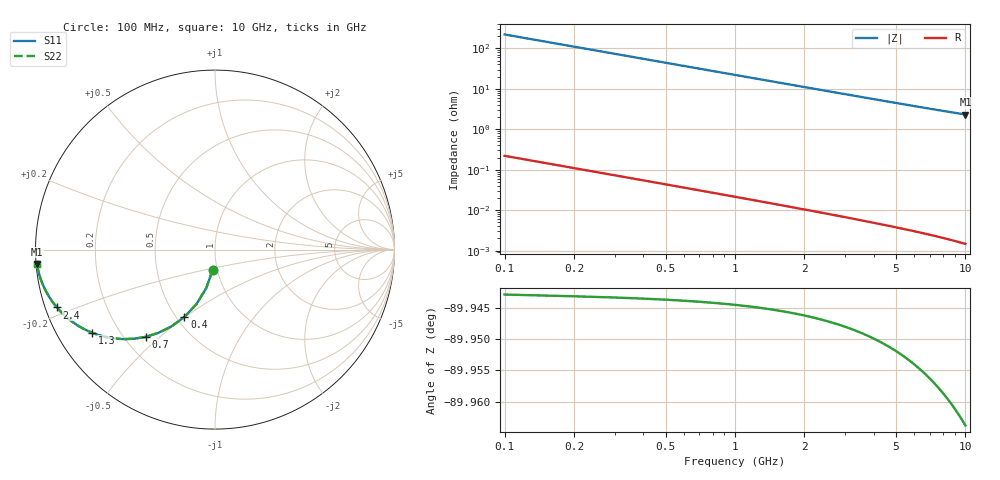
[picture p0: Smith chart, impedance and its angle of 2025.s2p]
# Hz S RI R 50.00
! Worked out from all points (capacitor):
!   100 points, 100 MHz to 10 GHz, reference 50 ohm
!   read as one part in shunt: C = 7.21 pF near 100 MHz
!   lowest |Z| = 2.32 ohm at 10 GHz (marker M1)
!   S11 on the Smith chart (normalised r, x): 100 MHz: 0.95, -0.22; 400 MHz: 0.55, -0.50; 700 MHz: 0.29, -0.45; 1.3 GHz: 0.10, -0.30; 2.4 GHz: 0.03, -0.18; 10 GHz: 0.00, -0.04
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1e8  -0.0127 -0.1117  0.9872 -0.1118  0.9872 -0.1118  -0.0127 -0.1117
2e8  -0.0489 -0.2152  0.951 -0.2154  0.951 -0.2154  -0.0489 -0.2152
3e8  -0.1036 -0.3042  0.8963 -0.3045  0.8963 -0.3045  -0.1036 -0.3042
4e8  -0.1704 -0.3753  0.8295 -0.3757  0.8295 -0.3757  -0.1704 -0.3753
5e8  -0.2429 -0.4281  0.7571 -0.4286  0.7571 -0.4286  -0.2429 -0.4281
6e8  -0.3159 -0.464  0.6841 -0.4647  0.6841 -0.4647  -0.3159 -0.464
7e8  -0.3858 -0.4859  0.6141 -0.4867  0.6141 -0.4867  -0.3858 -0.4859
8e8  -0.4507 -0.4966  0.5493 -0.4975  0.5493 -0.4975  -0.4507 -0.4966
1e9  -0.5616 -0.4951  0.4383 -0.4962  0.4383 -0.4962  -0.5616 -0.4951
1.1e9  -0.6078 -0.4871  0.3921 -0.4883  0.3921 -0.4883  -0.6078 -0.4871
1.3e9  -0.684 -0.4637  0.316 -0.4651  0.316 -0.4651  -0.684 -0.4637
1.5e9  -0.7423 -0.436  0.2576 -0.4377  0.2576 -0.4377  -0.7423 -0.436
1.8e9  -0.8057 -0.3941  0.1943 -0.3961  0.1943 -0.3961  -0.8057 -0.3941
2.1e9  -0.8494 -0.3559  0.1505 -0.3582  0.1505 -0.3582  -0.8494 -0.3559
2.4e9  -0.8805 -0.3225  0.1195 -0.3252  0.1195 -0.3252  -0.8805 -0.3225
2.9e9  -0.9149 -0.2768  0.085 -0.2801  0.085 -0.2801  -0.9149 -0.2768
3.4e9  -0.9366 -0.2412  0.0633 -0.245  0.0633 -0.245  -0.9366 -0.2412
4.2e9  -0.9575 -0.1987  0.0424 -0.2034  0.0424 -0.2034  -0.9575 -0.1987
5.1e9  -0.9708 -0.1648  0.0291 -0.1705  0.0291 -0.1705  -0.9708 -0.1648
6.7e9  -0.9829 -0.1251  0.017 -0.1326  0.017 -0.1326  -0.9829 -0.1251
8.4e9  -0.9891 -0.0982  0.0108 -0.1078  0.0108 -0.1078  -0.9891 -0.0982
1e10  -0.9923 -0.0806  0.00754 -0.0921  0.00754 -0.0921  -0.9923 -0.0806
